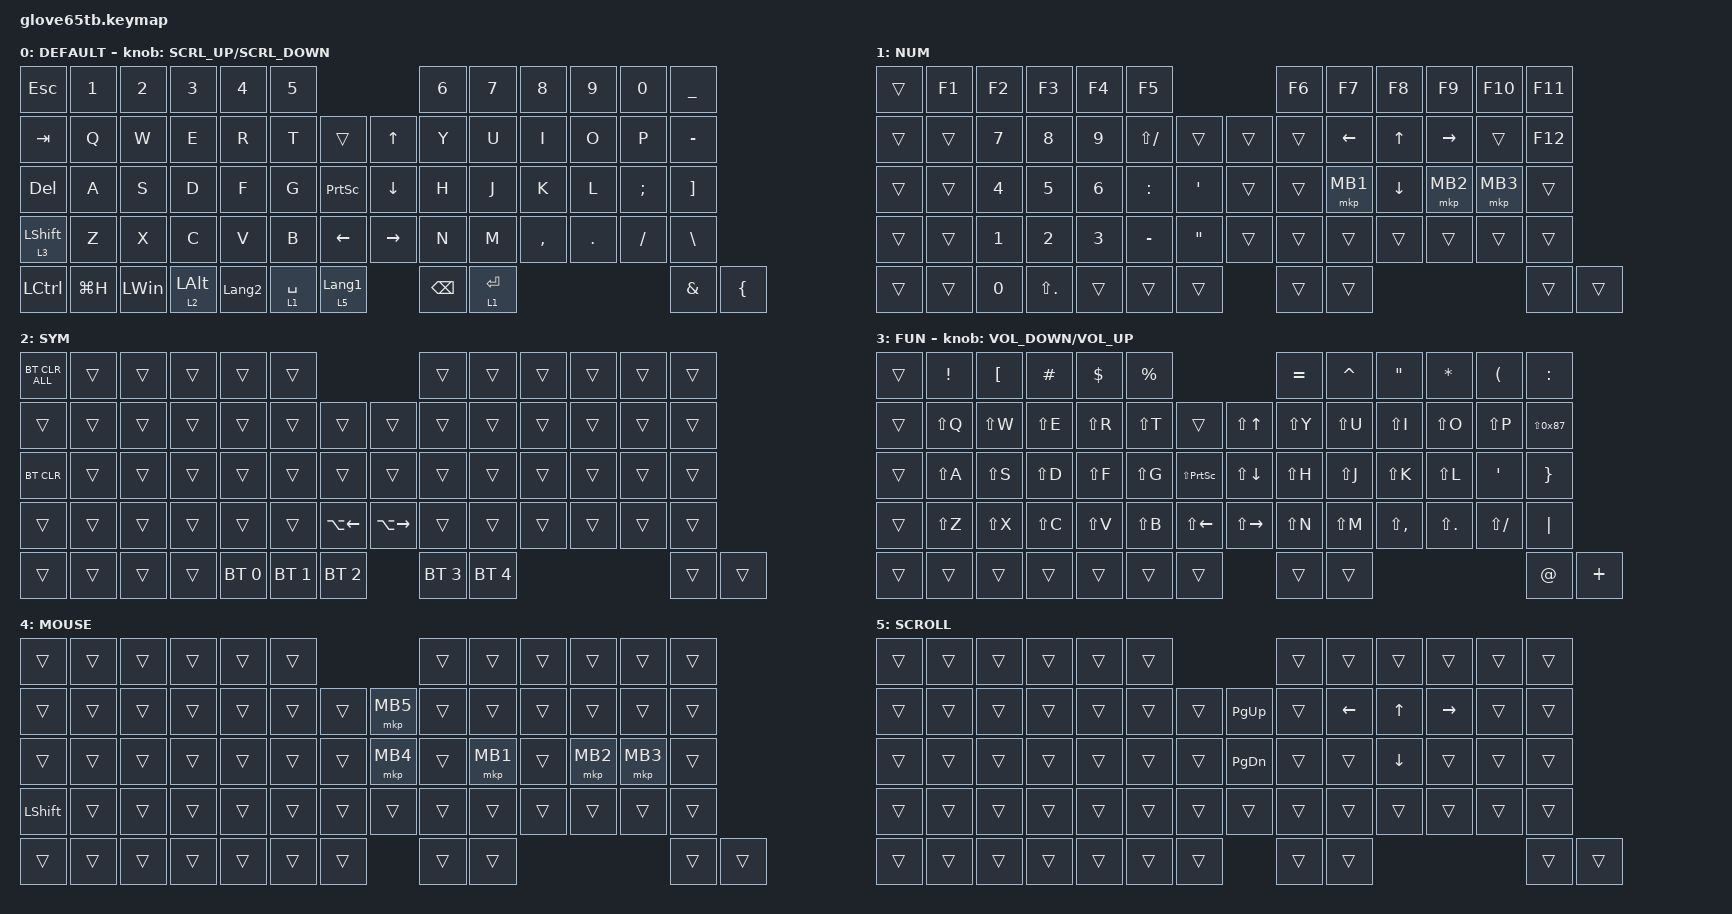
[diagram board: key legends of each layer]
// OS設定を日本語キーボードのまま使用するための変換定義

#define JP_DQUOTE       AT                // "
#define JP_AMPERSAND    CARET             // &
#define JP_QUOTE        AMPERSAND         // '
#define JP_EQUAL        UNDER             // =
#define JP_CARET        EQUAL             // ^
#define JP_YEN          0x89              // ¥
#define JP_PLUS         COLON             // +
#define JP_TILDE        PLUS              // ~
#define JP_PIPE         LS(0x89)          // |
#define JP_AT           LEFT_BRACKET      // @
#define JP_COLON        SINGLE_QUOTE      // :
#define JP_ASTERISK     DOUBLE_QUOTES     // *
#define JP_BACKQUOTE    LEFT_BRACE        // `
#define JP_UNDERSCORE   LS(0x87)          // _
#define JP_LBRACKET     RIGHT_BRACKET     // [
#define JP_RBRACKET     BACKSLASH         // ]
#define JP_LPAREN       ASTERISK          // (
#define JP_RPAREN       LEFT_PARENTHESIS  // )
#define JP_LBRACE       RIGHT_BRACE       // {
#define JP_RBRACE       PIPE              // }
#define JP_KANA         LANGUAGE_1        // かな
#define JP_EISU         LANGUAGE_2        // 英数
#define JP_HANZEN       GRAVE             // 半角/全角
#define ZMK_POINTING_DEFAULT_SCRL_VAL 150

#include <behaviors/rgbled_widget.dtsi>
#include <dt-bindings/zmk/input_transform.h>
#include <input/processors.dtsi>
#include <zephyr/dt-bindings/input/input-event-codes.h>
#include <behaviors.dtsi>
#include <dt-bindings/zmk/bt.h>
#include <dt-bindings/zmk/keys.h>
#include <dt-bindings/zmk/pointing.h>

// Layer Numbering

#define DEFAULT 0
#define NUM     1
#define SYM     2
#define FUN     3
#define MOUSE   4
#define SCROLL  5

&mmv {
    delay-ms = <20>;
    trigger-period-ms = <5>;
    time-to-max-speed-ms = <100>;
    acceleration-exponent = <2>;
};

&msc {
    delay-ms = <3>;
    trigger-period-ms = <3>;
    time-to-max-speed-ms = <100>;
    acceleration-exponent = <0>;
};

/ {
    input_processors {
        zip_wheel_scaler: zip_wheel_scaler {
            compatible = "zmk,input-processor-scaler";
            #input-processor-cells = <2>;
            type = <INPUT_EV_REL>;
            codes = <INPUT_REL_WHEEL>;
            track-remainders;
        };
    };
};

/ {
    combos {
        compatible = "zmk,combos";

        scroll {
            bindings = <&mo 5>;
            key-positions = <49 50>;
        };
    };

    behaviors {
        sensor_rotate_kp: sensor_rotate_kp {
            compatible = "zmk,behavior-sensor-rotate-var";
            #sensor-binding-cells = <2>;
            bindings = <&kp>, <&kp>;
        };

        mouse_wheel_scroll: mouse_wheel_scroll {
            compatible = "zmk,behavior-sensor-rotate-var";
            #sensor-binding-cells = <2>;
            bindings = <&msc>, <&msc>;

            tap-ms = <20>;
        };
    };

    keymap {
        compatible = "zmk,keymap";

        default_layer {
            label = "DEFAULT";
            bindings = <
&kp ESC           &kp N1     &kp N2        &kp N3          &kp N4          &kp N5                                          &kp N6       &kp N7  &kp N8     &kp N9   &kp N0    &kp JP_EQUAL
&kp TAB           &kp Q      &kp W         &kp E           &kp R           &kp T        &trans            &kp UP_ARROW     &kp Y        &kp U   &kp I      &kp O    &kp P     &kp MINUS
&kp DEL           &kp A      &kp S         &kp D           &kp F           &kp G        &kp PRINTSCREEN   &kp DOWN_ARROW   &kp H        &kp J   &kp K      &kp L    &kp SEMI  &kp JP_LBRACKET 
&lt 3 LEFT_SHIFT  &kp Z      &kp X         &kp C           &kp V           &kp B        &kp LEFT_ARROW    &kp RIGHT_ARROW  &kp N        &kp M   &kp COMMA  &kp DOT  &kp FSLH  &kp JP_RBRACKET
&kp LEFT_CONTROL  &kp LG(H)  &kp LEFT_WIN  &lt 2 LEFT_ALT  &kp LANGUAGE_2       &lt 1 SPACE  &lt 5 LANGUAGE_1       &kp BACKSPACE    &lt 1 ENTER                              &kp JP_QUOTE  &kp JP_BACKQUOTE
            >;

            sensor-bindings = <&mouse_wheel_scroll SCRL_UP SCRL_DOWN>;
        };

        number_layer {
            label = "NUM";
            bindings = <
&trans  &kp F1  &kp F2  &kp F3   &kp F4  &kp F5                           &kp F6  &kp F7          &kp F8          &kp F9           &kp F10   &kp F11
&trans  &trans  &kp N7  &kp N8   &kp N9  &kp LS(FSLH)  &trans        &trans  &trans  &kp LEFT_ARROW  &kp UP_ARROW    &kp RIGHT_ARROW  &trans    &kp F12
&trans  &trans  &kp N4  &kp N5   &kp N6  &kp JP_PLUS   &kp JP_COLON     &trans  &trans  &mkp MB1        &kp DOWN_ARROW  &mkp MB2         &mkp MB3  &trans
&trans  &trans  &kp N1  &kp N2   &kp N3  &kp MINUS  &kp JP_ASTERISK  &trans  &trans  &trans          &trans          &trans           &trans    &trans
&trans  &trans  &kp N0  &kp LS(DOT)  &trans  &trans     &trans        &trans  &trans                                                   &trans    &trans
            >;
        };

        symbol_layer {
            label = "SYM";
            bindings = <
&bt BT_CLR_ALL  &trans  &trans  &trans  &trans        &trans                                                 &trans        &trans  &trans  &trans  &trans  &trans
&trans          &trans  &trans  &trans  &trans        &trans        &trans              &trans               &trans        &trans  &trans  &trans  &trans  &trans
&bt BT_CLR      &trans  &trans  &trans  &trans        &trans        &trans              &trans               &trans        &trans  &trans  &trans  &trans  &trans
&trans          &trans  &trans  &trans  &trans        &trans        &kp LA(LEFT_ARROW)  &kp LA(RIGHT_ARROW)  &trans        &trans  &trans  &trans  &trans  &trans
&trans          &trans  &trans  &trans  &bt BT_SEL 0  &bt BT_SEL 1  &bt BT_SEL 2        &bt BT_SEL 3         &bt BT_SEL 4                          &trans  &trans
            >;
        };

        function_layer {
            label = "FUN";
            bindings = <
&trans  &kp EXCLAMATION  &kp JP_AT  &kp HASH  &kp DOLLAR  &kp PERCENT                  &kp JP_CARET  &kp JP_AMPERSAND  &kp JP_ASTERISK  &kp JP_LPAREN  &kp JP_RPAREN &kp JP_PLUS
&trans  &kp LS(Q)      &kp LS(W)         &kp LS(E)           &kp LS(R)           &kp LS(T)        &trans                &kp LS(UP_ARROW)     &kp LS(Y)        &kp LS(U)   &kp LS(I)      &kp LS(O)    &kp LS(P)          &kp JP_UNDERSCORE
&trans  &kp LS(A)      &kp LS(S)         &kp LS(D)           &kp LS(F)           &kp LS(G)        &kp LS(PRINTSCREEN)   &kp LS(DOWN_ARROW)   &kp LS(H)        &kp LS(J)   &kp LS(K)      &kp LS(L)               &kp JP_COLON                &kp JP_LBRACE
&trans  &kp LS(Z)      &kp LS(X)         &kp LS(C)           &kp LS(V)           &kp LS(B)        &kp LS(LEFT_ARROW)    &kp LS(RIGHT_ARROW)  &kp LS(N)        &kp LS(M)   &kp LS(COMMA)  &kp LS(DOT)  &kp LS(FSLH)                 &kp JP_RBRACE
&trans  &trans           &trans  &trans    &trans      &trans       &trans  &trans  &trans                                                        &kp JP_DQUOTE       &kp JP_TILDE
            >;

            sensor-bindings = <&sensor_rotate_kp C_VOLUME_DOWN C_VOLUME_UP>;
        };

        mouse_layer {
            label = "MOUSE";
            bindings = <
&trans  &trans  &trans  &trans  &trans  &trans                    &trans  &trans    &trans  &trans    &trans    &trans
&trans  &trans  &trans  &trans  &trans  &trans  &trans  &mkp MB5  &trans  &trans    &trans  &trans    &trans    &trans
&trans  &trans  &trans  &trans  &trans  &trans  &trans  &mkp MB4  &trans  &mkp MB1  &trans  &mkp MB2  &mkp MB3  &trans
&kp LEFT_SHIFT &trans  &trans  &trans  &trans  &trans  &trans  &trans    &trans  &trans    &trans  &trans    &trans    &trans
&trans  &trans  &trans  &trans  &trans  &trans  &trans  &trans    &trans                              &trans    &trans
            >;
        };

        scroll_layer {
            label = "SCROLL";
            bindings = <
&trans  &trans  &trans  &trans  &trans  &trans                         &trans  &trans          &trans          &trans           &trans  &trans
&trans  &trans  &trans  &trans  &trans  &trans  &trans  &kp PAGE_UP    &trans  &kp LEFT_ARROW  &kp UP_ARROW    &kp RIGHT_ARROW  &trans  &trans
&trans  &trans  &trans  &trans  &trans  &trans  &trans  &kp PAGE_DOWN  &trans  &trans          &kp DOWN_ARROW  &trans           &trans  &trans
&trans  &trans  &trans  &trans  &trans  &trans  &trans  &trans         &trans  &trans          &trans          &trans           &trans  &trans
&trans  &trans  &trans  &trans  &trans  &trans  &trans  &trans         &trans                                                   &trans  &trans
            >;
        };
    };
};
